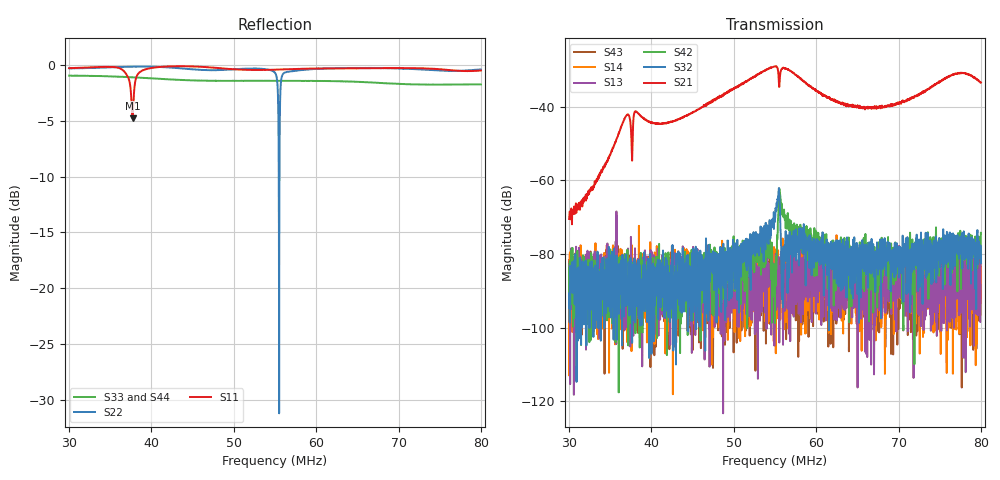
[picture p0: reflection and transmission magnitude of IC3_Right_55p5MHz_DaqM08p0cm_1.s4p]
#  HZ  S  DB  R  50.00
! Rohde & Schwarz Vector Network Analyzer
! Rohde-Schwarz,ZNB8-4Port,1311601044102961,2.82
! Created: UTC 2/13/2019, 2:05:19 PM
! freq[Hz]  db:S11  ang:S11  db:S12  ang:S12  db:S13  ang:S13  db:S14  ang:S14
!  db:S21  ang:S21  db:S22  ang:S22  db:S23  ang:S23  db:S24  ang:S24
!  db:S31  ang:S31  db:S32  ang:S32  db:S33  ang:S33  db:S34  ang:S34
!  db:S41  ang:S41  db:S42  ang:S42  db:S43  ang:S43  db:S44  ang:S44
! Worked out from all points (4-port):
!   2001 points, 30 MHz to 80 MHz, reference 50 ohm
!   strongest paths, dB at 30 MHz, 42.5 MHz, 55 MHz, 67.5 MHz, 80 MHz:
!     S21: -70.5, -44.0, -29.1, -40.1, -33.5
!     S32: -94.7, -86.0, -70.5, -85.6, -80.6
!     S42: -83.9, -95.8, -98.8, -90.3, -74.3
!     S13: -83.2, -85.0, -86.7, -82.9, -82.8
!     S14: -87.8, -90.7, -80.4, -95.0, -85.7
!     S43: -81.6, -88.5, -87.3, -95.7, -93.4
!   lowest |S11| = -4.8 dB at 37.7 MHz (marker M1), VSWR 3.74, Z = 109 - j86.5 ohm
!   |S11| at or under -10 dB: nowhere
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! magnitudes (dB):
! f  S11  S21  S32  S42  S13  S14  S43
! 30 MHz  -0.3  -70.5  -94.7  -83.9  -83.2  -87.8  -81.6
! 37.7 MHz  -4.8  -49.9  -98.2  -84.5  -89.6  -86.3  -84.1
! 51.8 MHz  -0.4  -32.8  -79.9  -81.9  -97.0  -83.1  -88.2
! 55.35 MHz  -0.4  -30.0  -64.9  -71.2  -88.8  -81.3  -90.1
! 56.02 MHz  -0.4  -29.5  -78.6  -69.5  -86.8  -88.9  -97.6
! 65.78 MHz  -0.3  -40.5  -81.8  -75.6  -87.9  -89.2  -96.1
! 80 MHz  -0.5  -33.5  -80.6  -74.3  -82.8  -85.7  -93.4
